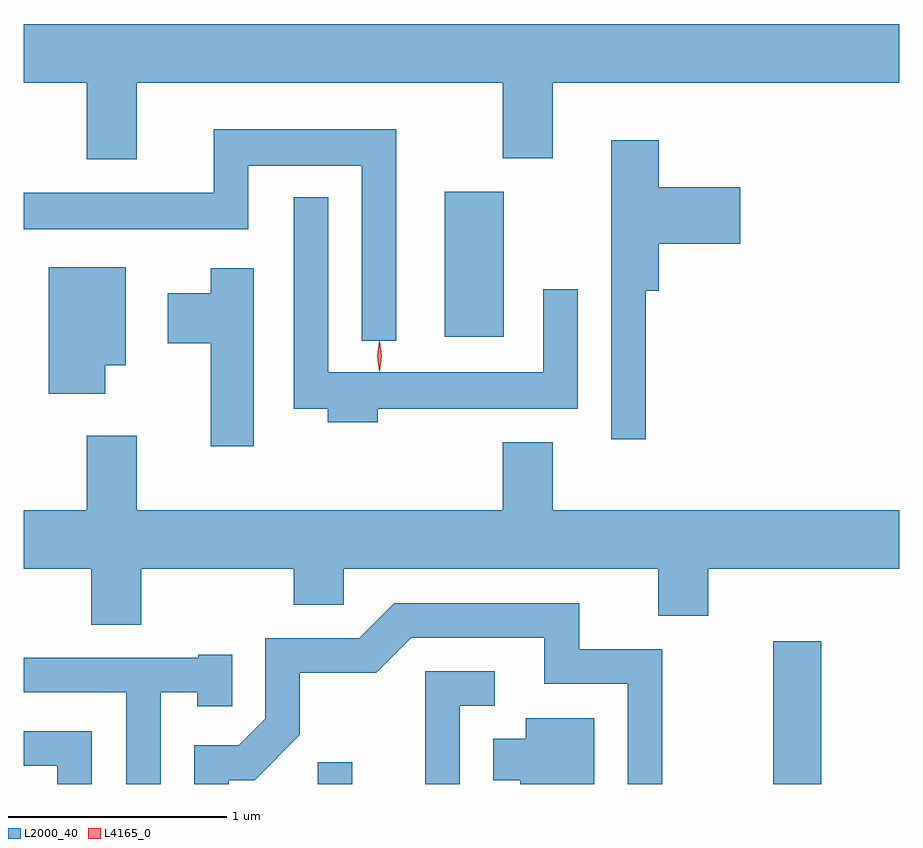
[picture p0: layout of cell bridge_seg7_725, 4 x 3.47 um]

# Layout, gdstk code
import gdstk
lib = gdstk.Library(unit=1e-6, precision=1e-09)
def R(c, l, rs):  # rectangles x0, y0, x1, y1
    for r in rs: c.add(gdstk.rectangle(r[:2], r[2:], *l))
def P(c, l, *ps):  # polygons
    for p in ps: c.add(gdstk.Polygon(p, *l))
L2000_40 = (2000, 40)
L4165_0 = (4165, 0)

bridge_seg7_725 = lib.new_cell('bridge_seg7_725')
R(bridge_seg7_725, L2000_40, [(566.546,1782.153,566.704,1782.253), (568.626,1782.153,568.844,1782.804), (567.126,1784.196,567.394,1784.859)])
P(bridge_seg7_725, L2000_40, [(565.719,1785.356),(567.391,1785.356),(567.391,1785.011),(567.619,1785.011),(567.619,1785.356),(569.202,1785.356),(569.202,1785.624),(565.202,1785.624),(565.202,1785.356),(565.491,1785.356),(565.491,1785.006),(565.719,1785.006)],
  [(566.904,1785.144),(566.071,1785.144),(566.071,1784.854),(565.202,1784.854),(565.202,1784.686),(566.229,1784.686),(566.229,1784.976),(566.746,1784.976),(566.746,1784.178),(566.904,1784.178)],
  [(568.044,1784.406),(568.104,1784.406),(568.104,1784.621),(568.474,1784.621),(568.474,1784.879),(568.104,1784.879),(568.104,1785.094),(567.886,1785.094),(567.886,1783.728),(568.044,1783.728)],
  [(566.819,1783.866),(567.734,1783.866),(567.734,1784.413),(567.576,1784.413),(567.576,1784.034),(566.594,1784.034),(566.594,1784.833),(566.436,1784.833),(566.436,1783.866),(566.591,1783.866),(566.591,1783.806),(566.819,1783.806)],
  [(565.574,1784.066),(565.669,1784.066),(565.669,1784.514),(565.316,1784.514),(565.316,1783.936),(565.574,1783.936)],
  [(566.254,1784.509),(566.056,1784.509),(566.056,1784.394),(565.861,1784.394),(565.861,1784.166),(566.056,1784.166),(566.056,1783.696),(566.254,1783.696)],
  [(565.739,1783.136),(566.436,1783.136),(566.436,1782.971),(566.664,1782.971),(566.664,1783.136),(568.101,1783.136),(568.101,1782.921),(568.329,1782.921),(568.329,1783.136),(569.202,1783.136),(569.202,1783.404),(567.619,1783.404),(567.619,1783.714),(567.391,1783.714),(567.391,1783.404),(565.719,1783.404),(565.719,1783.744),(565.491,1783.744),(565.491,1783.404),(565.202,1783.404),(565.202,1783.136),(565.511,1783.136),(565.511,1782.881),(565.739,1782.881)],
  [(566.139,1782.171),(566.257,1782.171),(566.464,1782.379),(566.464,1782.661),(566.812,1782.661),(566.972,1782.821),(567.581,1782.821),(567.581,1782.611),(567.961,1782.611),(567.961,1782.153),(568.119,1782.153),(568.119,1782.769),(567.739,1782.769),(567.739,1782.979),(566.894,1782.979),(566.734,1782.819),(566.306,1782.819),(566.306,1782.452),(566.184,1782.329),(565.981,1782.329),(565.981,1782.153),(566.139,1782.153)],
  [(565.829,1782.571),(565.996,1782.571),(565.996,1782.508),(566.154,1782.508),(566.154,1782.744),(566,1782.744),(566,1782.729),(565.202,1782.729),(565.202,1782.571),(565.671,1782.571),(565.671,1782.153),(565.829,1782.153)],
  [(567.194,1782.511),(567.353,1782.511),(567.353,1782.669),(567.036,1782.669),(567.036,1782.153),(567.194,1782.153)],
  [(567.809,1782.454),(567.496,1782.454),(567.496,1782.359),(567.346,1782.359),(567.346,1782.171),(567.471,1782.171),(567.471,1782.153),(567.809,1782.153)],
  [(565.514,1782.394),(565.202,1782.394),(565.202,1782.236),(565.356,1782.236),(565.356,1782.153),(565.514,1782.153)])
P(bridge_seg7_725, L4165_0, [(566.827,1784.037),(566.827,1784.038),(566.817,1784.107),(566.827,1784.176),(566.827,1784.176),(566.828,1784.176),(566.837,1784.107),(566.828,1784.038)],
  [(566.827,1784.04),(566.827,1784.04),(566.817,1784.106),(566.826,1784.172),(566.827,1784.173),(566.827,1784.172),(566.837,1784.106),(566.828,1784.04)])

lib.write_gds('bridge_seg7_725.gds')
